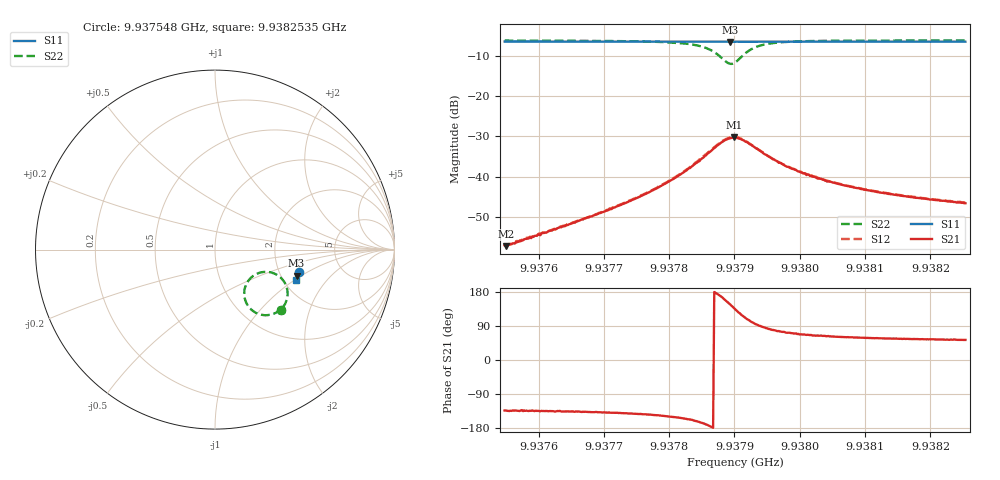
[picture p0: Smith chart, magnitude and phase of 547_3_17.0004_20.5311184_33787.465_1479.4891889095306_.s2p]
#  HZ  S  RI  R  50.00
! Rohde & Schwarz Vector Network Analyzer
! Rohde-Schwarz,ZNB20-2Port,1311601062101988,3.16
! Created: UTC 3/20/2024, 11:16:39 PM
! freq[Hz]  re:S11  im:S11  re:S21  im:S21  re:S12  im:S12  re:S22  im:S22
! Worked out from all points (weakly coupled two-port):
!   401 points, 9.937548 GHz to 9.9382535 GHz, reference 50 ohm
!   highest |S21| = -30.27 dB at 9.937899 GHz (marker M1); lowest = -57.4 dB at 9.9375498 GHz (marker M2)
!   lowest |S11| = -6.4 dB at 9.9378937 GHz (marker M3), VSWR 2.83, Z = 121 - j45.7 ohm
!   |S11| at or under -10 dB: nowhere
!   |S22| runs from -11.9 to -6.1 dB; largest |S21 - S12| = 0.0013
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9.93754804e9  0.4661 -0.1248  -0.000945 -0.00101  -0.000937 -0.000991  0.3668 -0.3339
9.9375498e9  0.466 -0.1249  -0.000927 -0.000984  -0.00097 -0.00099  0.3664 -0.3342
9.93766621e9  0.4632 -0.1326  -0.00214 -0.00198  -0.00213 -0.00198  0.3505 -0.346
9.93773323e9  0.4616 -0.1373  -0.00361 -0.00297  -0.00372 -0.00295  0.3338 -0.3548
9.93778438e9  0.46 -0.1408  -0.00612 -0.00411  -0.00631 -0.00412  0.3095 -0.3628
9.9378179e9  0.4589 -0.143  -0.00954 -0.00487  -0.00979 -0.00481  0.2796 -0.3656
9.93785141e9  0.4572 -0.1452  -0.0166 -0.00391  -0.0171 -0.00362  0.2223 -0.3491
9.93786552e9  0.4561 -0.1459  -0.0213 -0.00119  -0.022 -0.000508  0.1884 -0.3191
9.93787786e9  0.4553 -0.1462  -0.0253 0.00468  -0.026 0.00555  0.1647 -0.2675
9.93788845e9  0.4546 -0.1461  -0.0262 0.0127  -0.0263 0.0136  0.1697 -0.2041
9.93789374e9  0.4546 -0.1458  -0.0249 0.0167  -0.0251 0.0179  0.1868 -0.1722
9.93789903e9  0.4548 -0.1455  -0.0225 0.0208  -0.0221 0.022  0.2132 -0.1463
9.93790079e9  0.4549 -0.1456  -0.0214 0.0219  -0.0209 0.0228  0.2235 -0.1399
9.93790961e9  0.4553 -0.1457  -0.0151 0.0251  -0.0143 0.026  0.279 -0.1241
9.93792196e9  0.4559 -0.1461  -0.00687 0.0249  -0.00584 0.0254  0.3431 -0.1395
9.93794136e9  0.4564 -0.1479  0.000639 0.0203  0.000998 0.0205  0.3907 -0.1886
9.9379784e9  0.4561 -0.1509  0.00405 0.0129  0.00427 0.0131  0.4043 -0.2519
9.93801897e9  0.4552 -0.1541  0.00433 0.00928  0.0044 0.00897  0.3982 -0.2842
9.9380419e9  0.4546 -0.1554  0.00395 0.00767  0.00423 0.00782  0.3941 -0.2951
9.93806835e9  0.4539 -0.1574  0.00383 0.00674  0.00397 0.00675  0.3895 -0.3045
9.93813714e9  0.4519 -0.1621  0.00334 0.00507  0.00348 0.00506  0.3798 -0.3201
9.93825355e9  0.4488 -0.1696  0.00279 0.0037  0.00292 0.00371  0.3675 -0.335
